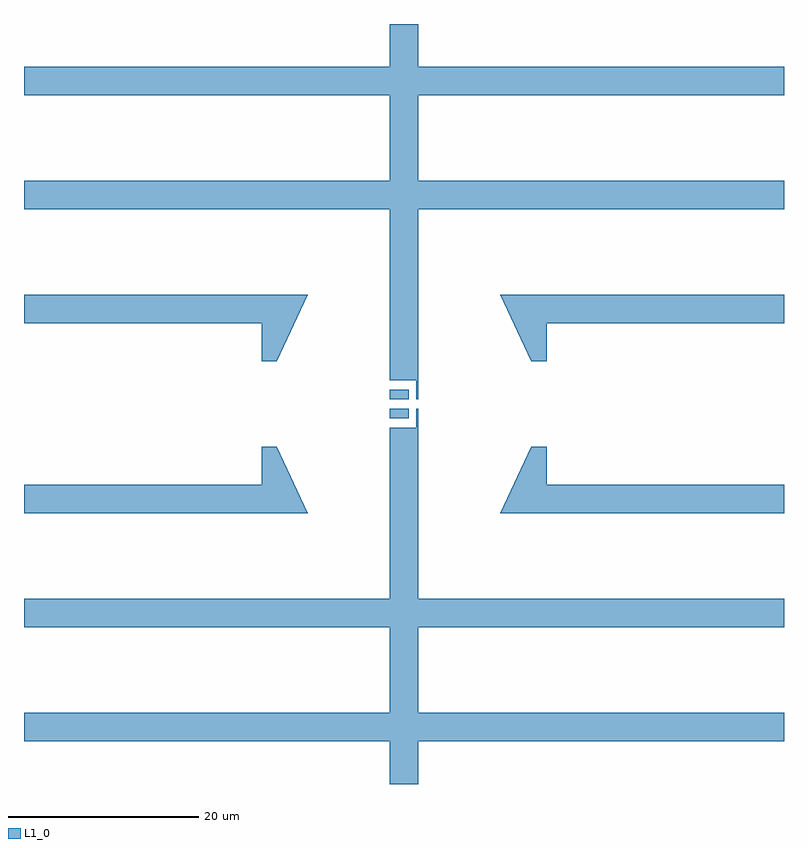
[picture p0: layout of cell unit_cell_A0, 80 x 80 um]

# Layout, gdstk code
from math import pi, radians
import gdstk
lib = gdstk.Library(unit=1e-6, precision=1e-09)
def R(c, l, rs):  # rectangles x0, y0, x1, y1
    for r in rs: c.add(gdstk.rectangle(r[:2], r[2:], *l))
def P(c, l, *ps):  # polygons
    for p in ps: c.add(gdstk.Polygon(p, *l))
L1_0 = (1, 0)

unnamed_43 = lib.new_cell('Unnamed_43')
P(unnamed_43, L1_0, [(0,28.5),(0,31.5),(25,31.5),(25,35.5),(26.597,35.5),(29.89,28.5)],
  [(38.5,0),(38.5,4.5),(0,4.5),(0,7.5),(38.5,7.5),(38.5,16.5),(0,16.5),(0,19.5),(38.5,19.5),(38.5,37.5),(40,37.5),(40,0)])

unnamed_44 = lib.new_cell('Unnamed_44')
unnamed_44.add(gdstk.Reference(unnamed_43, (0,0)))

rectangle_s2_1_lwg_cfal_ = lib.new_cell('rectangle_S2_1_LWG_CFal_a0a9c26d')
R(rectangle_s2_1_lwg_cfal_, L1_0, [(0,0,2,1)])

rectangle_s0p2_2_lwg_cf_ = lib.new_cell('rectangle_S0p2_2_LWG_CF_9ef6d549')
R(rectangle_s0p2_2_lwg_cf_, L1_0, [(0,0,0.2,2)])

unnamed_45 = lib.new_cell('Unnamed_45')
unnamed_45.add(gdstk.Reference(rectangle_s2_1_lwg_cfal_, (0,-1.5)))
unnamed_45.add(gdstk.Reference(rectangle_s0p2_2_lwg_cf_, (2.8,-2.5)))

unit_cell_a0 = lib.new_cell('unit_cell_A0')
unit_cell_a0.add(gdstk.Reference(unnamed_44, (0,0)))
unit_cell_a0.add(gdstk.Reference(unnamed_44, (80,0), rotation=pi, x_reflection=True))
unit_cell_a0.add(gdstk.Reference(unnamed_44, (0,80), x_reflection=True))
unit_cell_a0.add(gdstk.Reference(unnamed_44, (80,80), rotation=pi))
unit_cell_a0.add(gdstk.Reference(unnamed_45, (38.5,40)))
unit_cell_a0.add(gdstk.Reference(unnamed_45, (38.5,40), x_reflection=True))

lib.write_gds('unit_cell_A0.gds')
